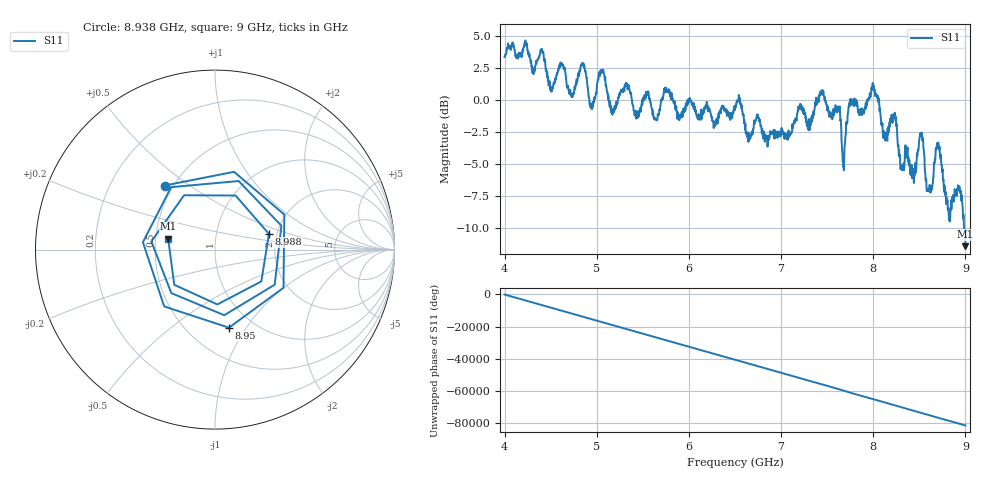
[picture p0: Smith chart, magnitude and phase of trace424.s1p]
! Created with skrf 1.8.0 (http://scikit-rf.org).
# Hz S RI R 50.0
!freq ReS11 ImS11
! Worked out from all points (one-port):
!   1601 points, 4 GHz to 9 GHz, reference 50 ohm
!   lowest |S11| = -11.4 dB at 9 GHz (marker M1), VSWR 1.73, Z = 29.1 + j3.82 ohm
!   |S11| at or under -10 dB: 8.986616 GHz to end of sweep
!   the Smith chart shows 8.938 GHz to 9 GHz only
!   S11 on the Smith chart (normalised r, x): 8.938 GHz: 0.45, +0.40; 8.95 GHz: 0.77, -0.84; 8.988 GHz: 1.82, +0.35; 9 GHz: 0.58, +0.08
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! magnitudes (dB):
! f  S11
! 4 GHz  3.4
! 4.625 GHz  2.8
! 4.728 GHz  0.5
! 4.853 GHz  2.8
! 4.944 GHz  -0.5
! 5.047 GHz  2.1
! 5.162 GHz  -0.9
! 5.25 GHz  0.4
! 5.875 GHz  -1.5
! 6.5 GHz  -0.7
! 6.653 GHz  -2.6
! 7.125 GHz  -2.1
! 7.444 GHz  0.4
! 7.616 GHz  -0.9
! 7.678 GHz  -5.2
! 7.75 GHz  0.1
! 8.006 GHz  1.1
! 8.128 GHz  -2.9
! 8.375 GHz  -4.5
! 8.444 GHz  -5.8
! 8.522 GHz  -2.8
! 8.603 GHz  -7.0
! 8.703 GHz  -3.4
! 8.816 GHz  -8.4
! 8.938 GHz  -6.9
! 8.95 GHz  -7.1
! 8.988 GHz  -10.1
! 9 GHz  -11.4
